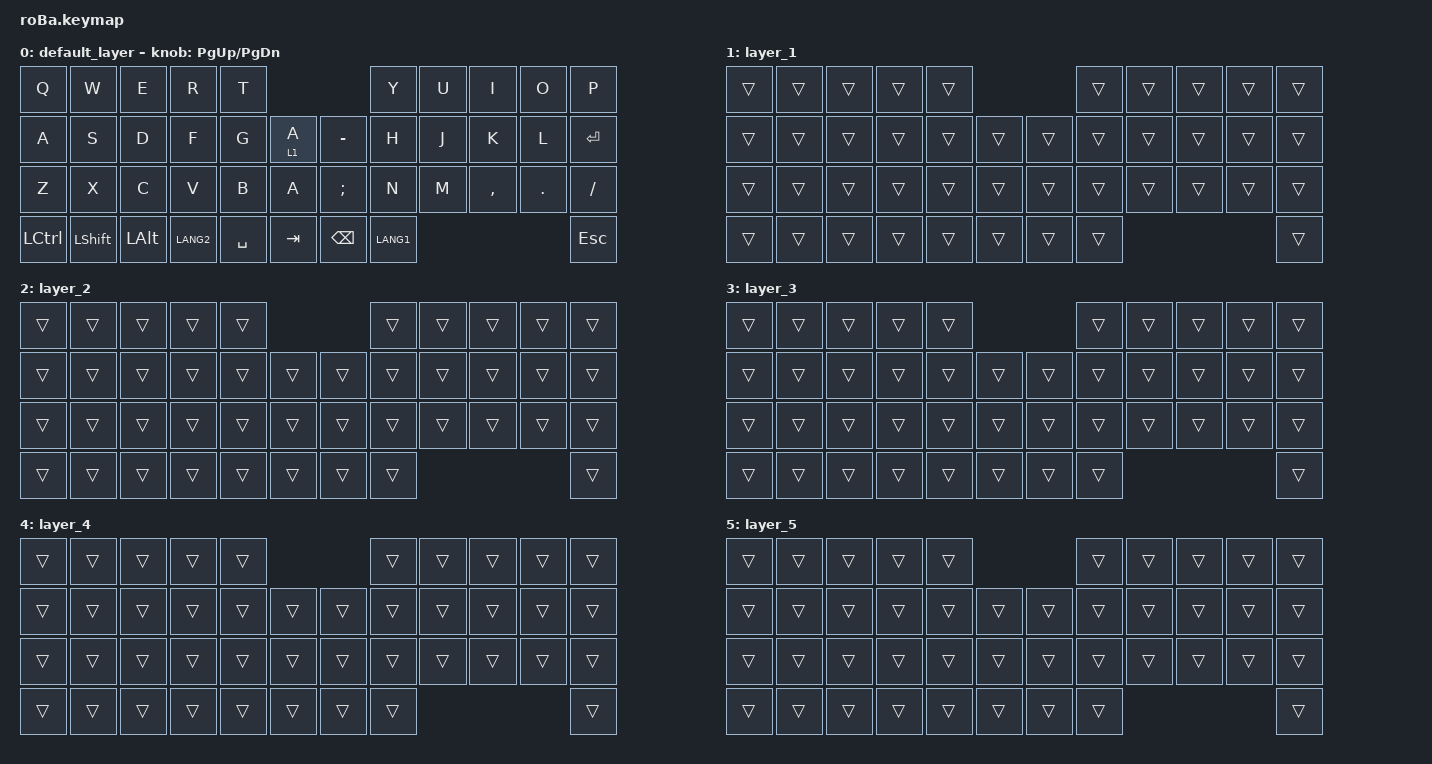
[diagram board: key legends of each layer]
#include <behaviors.dtsi>
#include <dt-bindings/zmk/keys.h>

&mt {
    flavor = "balanced";
    quick-tap-ms = <0>;
};

&trackball {
    automouse-layer = <4>;
    scroll-layers = <5>;

    // arrows {
    //     layers = <3>;
    //     bindings =
    //         <&kp RIGHT_ARROW>,
    //         <&kp LEFT_ARROW>,
    //         <&kp UP_ARROW>,
    //         <&kp DOWN_ARROW>;
    //     tick = <10>;
    //     wait-ms = <5>;
    //     tap-ms = <5>;
    // };
};

/ {
    combos {
        compatible = "zmk,combos";

        tab {
            bindings = <&kp TAB>;
            key-positions = <11 12>;
        };

        shift_tab {
            bindings = <&kp LS(TAB)>;
            key-positions = <12 13>;
        };

        muhennkann {
            bindings = <&to_layer_0 INT_MUHENKAN>;
            key-positions = <11 10>;
        };

        double_quotation {
            bindings = <&kp DOUBLE_QUOTES>;
            key-positions = <20 21>;
        };

        eq {
            bindings = <&kp EQUAL>;
            key-positions = <24 25>;
        };
    };

    macros {
        to_layer_0: to_layer_0 {
            compatible = "zmk,behavior-macro-one-param";
            #binding-cells = <1>;
            bindings = <&to 0 &macro_param_1to1 &kp MACRO_PLACEHOLDER>;
            label = "TO_LAYER_0";
        };
    };

    behaviors {
        lt_to_layer_0: lt_to_layer_0 {
            compatible = "zmk,behavior-hold-tap";
            label = "LAYER_TAP_TO_0";
            bindings = <&mo>, <&to_layer_0>;

            #binding-cells = <2>;
            tapping-term-ms = <200>;
        };
    };

    keymap {
        compatible = "zmk,keymap";

        default_layer {
            bindings = <
&kp Q      &kp W           &kp E         &kp R      &kp T                                  &kp Y      &kp U  &kp I      &kp O    &kp P
&kp A      &kp S           &kp D         &kp F      &kp G      &lt 1 A      &kp MINUS      &kp H      &kp J  &kp K      &kp L    &kp ENTER
&kp Z      &kp X           &kp C         &kp V      &kp B      &kp A        &kp SEMICOLON  &kp N      &kp M  &kp COMMA  &kp DOT  &kp SLASH
&kp LCTRL  &kp LEFT_SHIFT  &kp LEFT_ALT  &kp LANG2  &kp SPACE  &kp TAB      &kp BACKSPACE  &kp LANG1                             &kp ESC
            >;

            sensor-bindings = <&inc_dec_kp PG_UP PAGE_DOWN>;
        };

        layer_1 {
            bindings = <
&trans  &trans  &trans  &trans  &trans                      &trans  &trans  &trans  &trans  &trans
&trans  &trans  &trans  &trans  &trans  &trans      &trans  &trans  &trans  &trans  &trans  &trans
&trans  &trans  &trans  &trans  &trans  &trans      &trans  &trans  &trans  &trans  &trans  &trans
&trans  &trans  &trans  &trans  &trans  &trans      &trans  &trans                          &trans
            >;
        };

        layer_2 {
            bindings = <
&trans  &trans  &trans  &trans  &trans                      &trans  &trans  &trans  &trans  &trans
&trans  &trans  &trans  &trans  &trans  &trans      &trans  &trans  &trans  &trans  &trans  &trans
&trans  &trans  &trans  &trans  &trans  &trans      &trans  &trans  &trans  &trans  &trans  &trans
&trans  &trans  &trans  &trans  &trans  &trans      &trans  &trans                          &trans
            >;
        };

        layer_3 {
            bindings = <
&trans  &trans  &trans  &trans  &trans                      &trans  &trans  &trans  &trans  &trans
&trans  &trans  &trans  &trans  &trans  &trans      &trans  &trans  &trans  &trans  &trans  &trans
&trans  &trans  &trans  &trans  &trans  &trans      &trans  &trans  &trans  &trans  &trans  &trans
&trans  &trans  &trans  &trans  &trans  &trans      &trans  &trans                          &trans
            >;
        };

        layer_4 {
            bindings = <
&trans  &trans  &trans  &trans  &trans                      &trans  &trans  &trans  &trans  &trans
&trans  &trans  &trans  &trans  &trans  &trans      &trans  &trans  &trans  &trans  &trans  &trans
&trans  &trans  &trans  &trans  &trans  &trans      &trans  &trans  &trans  &trans  &trans  &trans
&trans  &trans  &trans  &trans  &trans  &trans      &trans  &trans                          &trans
            >;
        };

        layer_5 {
            bindings = <
&trans  &trans  &trans  &trans  &trans                      &trans  &trans  &trans  &trans  &trans
&trans  &trans  &trans  &trans  &trans  &trans      &trans  &trans  &trans  &trans  &trans  &trans
&trans  &trans  &trans  &trans  &trans  &trans      &trans  &trans  &trans  &trans  &trans  &trans
&trans  &trans  &trans  &trans  &trans  &trans      &trans  &trans                          &trans
            >;
        };
    };
};
